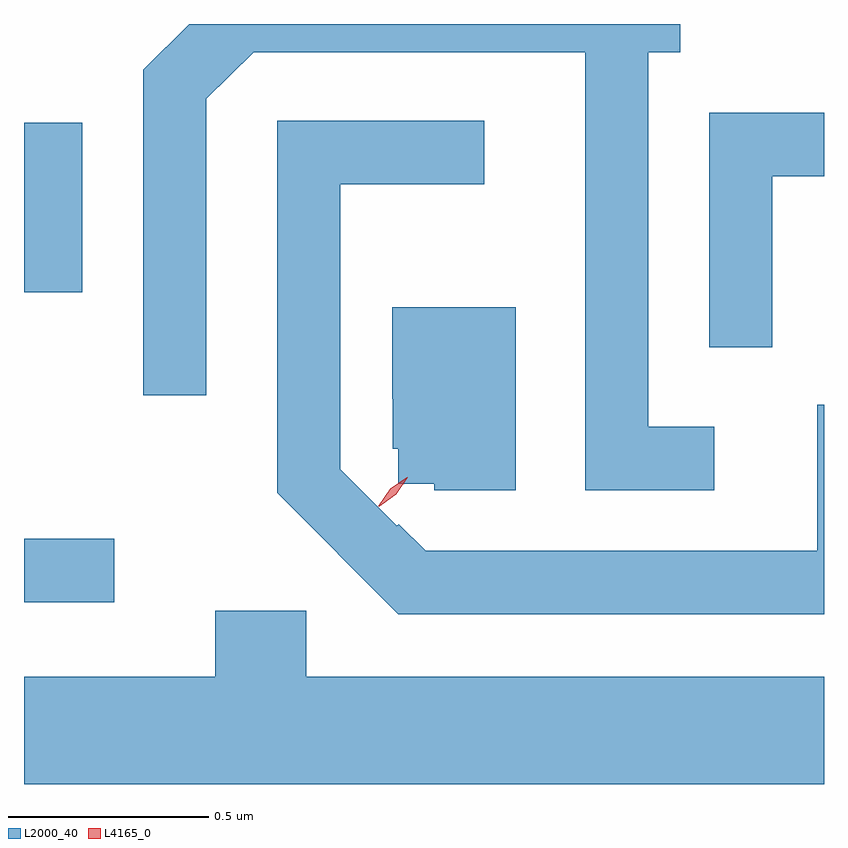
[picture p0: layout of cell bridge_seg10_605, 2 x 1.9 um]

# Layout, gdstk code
import gdstk
lib = gdstk.Library(unit=1e-6, precision=1e-09)
def R(c, l, rs):  # rectangles x0, y0, x1, y1
    for r in rs: c.add(gdstk.rectangle(r[:2], r[2:], *l))
def P(c, l, *ps):  # polygons
    for p in ps: c.add(gdstk.Polygon(p, *l))
L2000_40 = (2000, 40)
L4165_0 = (4165, 0)

bridge_seg10_605 = lib.new_cell('bridge_seg10_605')
R(bridge_seg10_605, L2000_40, [(826.318,2160.991,826.543,2161.149), (826.318,2161.766,826.464,2162.189)])
P(bridge_seg10_605, L2000_40, [(828.043,2161.429),(827.879,2161.429),(827.879,2162.366),(827.958,2162.366),(827.958,2162.436),(826.731,2162.436),(826.616,2162.322),(826.616,2161.508),(826.774,2161.508),(826.774,2162.249),(826.892,2162.366),(827.721,2162.366),(827.721,2161.271),(828.043,2161.271)],
  [(828.189,2162.056),(828.318,2162.056),(828.318,2162.214),(828.031,2162.214),(828.031,2161.628),(828.189,2161.628)],
  [(828.318,2161.484),(828.301,2161.484),(828.301,2161.119),(827.322,2161.119),(827.255,2161.186),(827.25,2161.182),(827.109,2161.323),(827.109,2162.036),(827.468,2162.036),(827.468,2162.194),(826.951,2162.194),(826.951,2161.264),(827.254,2160.961),(828.318,2160.961)],
  [(827.547,2161.728),(827.239,2161.728),(827.239,2161.499),(827.24,2161.499),(827.24,2161.374),(827.253,2161.374),(827.253,2161.287),(827.343,2161.287),(827.343,2161.27),(827.547,2161.27)],
  [(828.318,2160.804),(827.024,2160.804),(827.024,2160.969),(826.796,2160.969),(826.796,2160.804),(826.318,2160.804),(826.318,2160.536),(828.318,2160.536)])
P(bridge_seg10_605, L4165_0, [(827.204,2161.23),(827.204,2161.231),(827.233,2161.274),(827.276,2161.303),(827.277,2161.303),(827.277,2161.303),(827.248,2161.26),(827.205,2161.23)],
  [(827.206,2161.231),(827.206,2161.232),(827.234,2161.274),(827.274,2161.302),(827.275,2161.302),(827.275,2161.301),(827.248,2161.26),(827.207,2161.231)])

lib.write_gds('bridge_seg10_605.gds')
